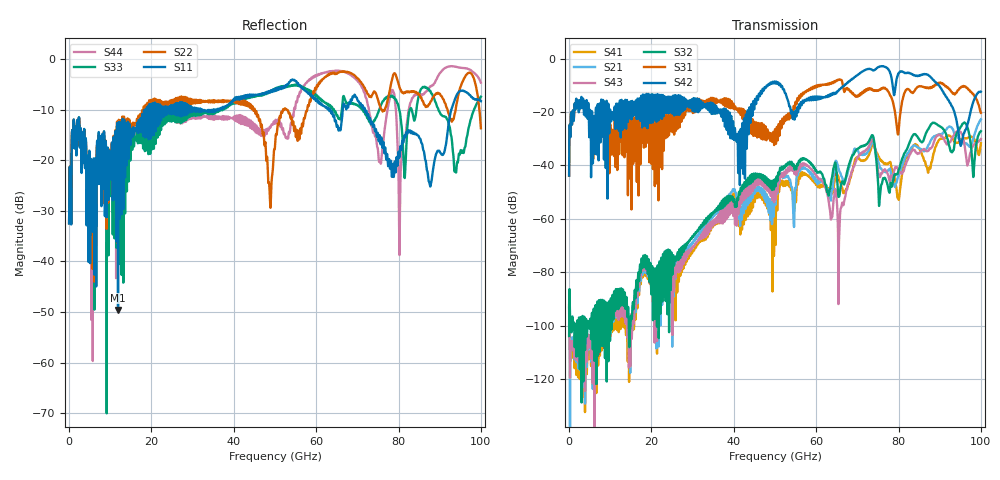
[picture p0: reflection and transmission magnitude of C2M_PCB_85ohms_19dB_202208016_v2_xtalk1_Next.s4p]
! Info: Touchstone file created by Circ.  Input file=Intel_C2M_200G_6p5in_202208016_staggered.circ
# Hz S RI R 50
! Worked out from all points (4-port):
!   10000 points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, 10 MHz to 100 GHz, reference 50 ohm
!   strongest paths, dB at 10 MHz, 25.01 GHz, 50.01 GHz, 75.01 GHz, 100 GHz:
!     S42: -43.8, -17.3, -9.0, -3.3, -12.4
!     S31: -43.9, -20.7, -26.4, -12.0, -20.3
!     S32: -103.9, -77.0, -45.7, -45.9, -27.2
!     S43: -93.4, -80.1, -48.4, -41.7, -30.2
!     S21: -93.0, -84.3, -52.0, -38.4, -22.7
!     S41: -92.3, -82.0, -57.7, -36.5, -31.7
!   lowest |S11| = -49.6 dB at 11.89 GHz (marker M1), VSWR 1.01, Z = 50 - j0.33 ohm
!   |S11| at or under -10 dB: start of sweep to 18.59 GHz; 63.46 GHz to 66.45 GHz (2.989 GHz wide, 4.6 % of centre); 71.83 GHz to 92.81 GHz (20.98 GHz wide, 25.5 % of centre)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
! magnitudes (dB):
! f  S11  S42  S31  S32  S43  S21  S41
! 10 MHz  -32.5  -43.8  -43.9  -103.9  -93.4  -93.0  -92.3
! 11.89 GHz  -49.6  -16.9  -21.9  -88.6  -91.6  -93.1  -97.4
! 41.44 GHz  -8.0  -41.5  -18.7  -50.9  -54.8  -59.1  -58.1
! 48.79 GHz  -6.6  -9.6  -29.5  -46.5  -47.3  -55.1  -54.1
! 76.19 GHz  -16.9  -2.9  -10.9  -45.1  -42.0  -41.9  -38.6
! 95.17 GHz  -6.2  -32.4  -10.7  -25.4  -27.6  -31.0  -30.3
! 100 GHz  -8.3  -12.4  -20.3  -27.2  -30.2  -22.7  -31.7
